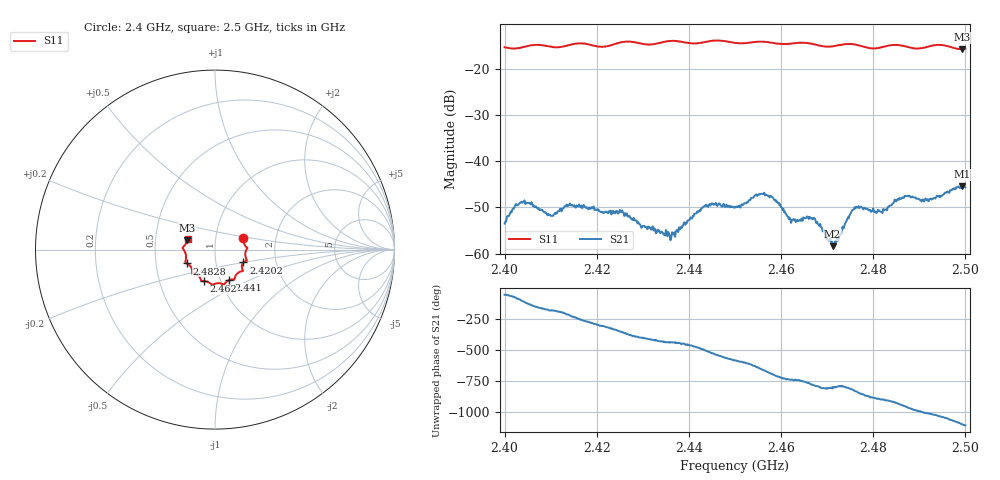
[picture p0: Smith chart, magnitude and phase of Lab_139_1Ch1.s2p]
# Hz S RI R 50
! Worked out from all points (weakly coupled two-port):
!   601 points, 2.4 GHz to 2.5 GHz, reference 50 ohm
!   highest |S21| = -45.43 dB at 2.4993 GHz (marker M1); lowest = -58.4 dB at 2.4712 GHz (marker M2)
!   lowest |S11| = -15.8 dB at 2.4993 GHz (marker M3), VSWR 1.39, Z = 36.5 + j3.86 ohm
!   |S11| at or under -10 dB: start of sweep to end of sweep
!   S12 and S22 are empty: the file has one direction only
!   S11 on the Smith chart (normalised r, x): 2.4 GHz: 1.36, +0.18; 2.4202 GHz: 1.36, -0.20; 2.441 GHz: 1.10, -0.39; 2.462 GHz: 0.84, -0.30; 2.4828 GHz: 0.72, -0.11; 2.5 GHz: 0.73, +0.09
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2.4e9  0.1582 0.0628  0.00118 -0.00175  0 0  0 0
2.403833e9  0.1688 0.0212  -0.00103 -0.00339  0 0  0 0
2.410167e9  0.1716 -0.00806  -0.00255 1.09e-05  0 0  0 0
2.416667e9  0.1774 -0.0606  -0.000759 0.00321  0 0  0 0
2.420167e9  0.1583 -0.0714  0.0014 0.00261  0 0  0 0
2.425333e9  0.1549 -0.1149  0.0028 0.00028  0 0  0 0
2.433333e9  0.1118 -0.1511  0.00064 -0.00165  0 0  0 0
2.4365e9  0.1087 -0.1675  0.000335 -0.00161  0 0  0 0
2.441e9  0.0786 -0.1697  -0.000879 -0.00236  0 0  0 0
2.444833e9  0.053 -0.1923  -0.00331 -0.000902  0 0  0 0
2.45e9  0.0285 -0.1877  -0.00236 0.00218  0 0  0 0
2.456333e9  -0.0171 -0.1945  0.0025 0.0038  0 0  0 0
2.462e9  -0.0602 -0.176  0.00225 -0.000751  0 0  0 0
2.466667e9  -0.0788 -0.1681  0.00129 -0.00204  0 0  0 0
2.471167e9  -0.1059 -0.138  3.34e-05 -0.0012  0 0  0 0
2.476e9  -0.1271 -0.1306  -0.00101 -0.00301  0 0  0 0
2.482833e9  -0.1574 -0.0769  -0.00299 0.000209  0 0  0 0
2.483333e9  -0.1605 -0.0755  -0.00317 0.000283  0 0  0 0
2.487333e9  -0.1625 -0.0568  -0.00211 0.00361  0 0  0 0
2.492167e9  -0.1742 -0.000872  0.00137 0.00361  0 0  0 0
2.499333e9  -0.154 0.0516  0.00514 -0.00147  0 0  0 0
2.5e9  -0.1521 0.0609  0.00473 -0.00219  0 0  0 0
